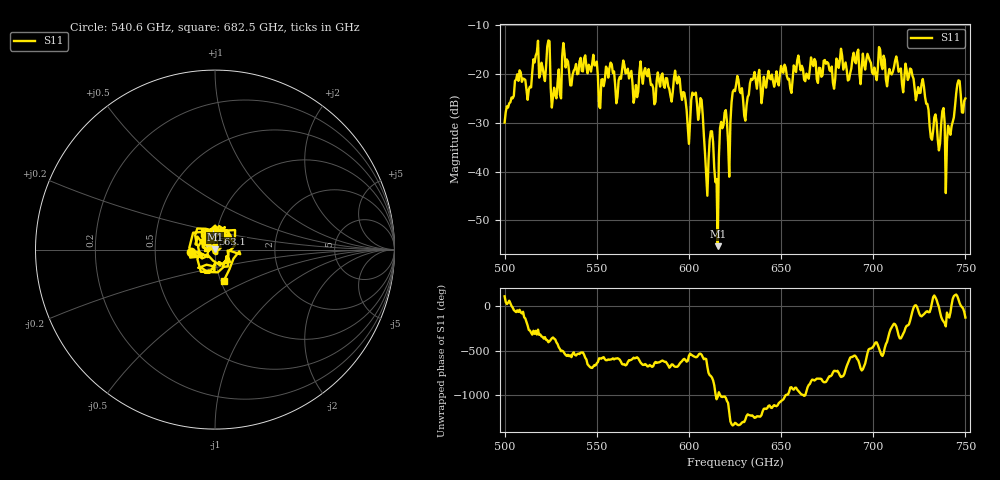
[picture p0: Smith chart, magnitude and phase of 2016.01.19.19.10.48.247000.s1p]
!Created with skrf (http://scikit-rf.org).
# GHz S RI R 50.0
!freq ReS11 ImS11
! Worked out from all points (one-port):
!   401 points, 500 GHz to 750 GHz, reference 50 ohm
!   lowest |S11| = -55.2 dB at 615.6 GHz (marker M1), VSWR 1.00, Z = 50.1 + j0.153 ohm
!   |S11| at or under -10 dB: start of sweep to end of sweep
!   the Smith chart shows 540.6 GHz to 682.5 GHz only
!   S11 on the Smith chart (normalised r, x): 540.6 GHz: 0.77, -0.02; 563.1 GHz: 0.96, +0.17; 682.5 GHz: 1.04, -0.37
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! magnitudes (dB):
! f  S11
! 500 GHz  -30.0
! 507.5 GHz  -21.5
! 513.1 GHz  -23.2
! 516.9 GHz  -16.3
! 523.8 GHz  -13.2
! 526.9 GHz  -22.9
! 531.2 GHz  -16.4
! 540.6 GHz  -17.5
! 562.5 GHz  -20.7
! 563.1 GHz  -21.0
! 593.8 GHz  -22.0
! 599.4 GHz  -31.0
! 606.2 GHz  -25.0
! 609.4 GHz  -40.6
! 611.9 GHz  -31.8
! 615.6 GHz  -55.2
! 618.1 GHz  -31.1
! 621.9 GHz  -41.1
! 625 GHz  -23.6
! 630.6 GHz  -29.6
! 634.4 GHz  -21.3
! 656.2 GHz  -21.3
! 682.5 GHz  -14.9
! 687.5 GHz  -19.9
! 718.8 GHz  -21.3
! 740.6 GHz  -30.6
! 745.6 GHz  -22.2
! 750 GHz  -25.1
